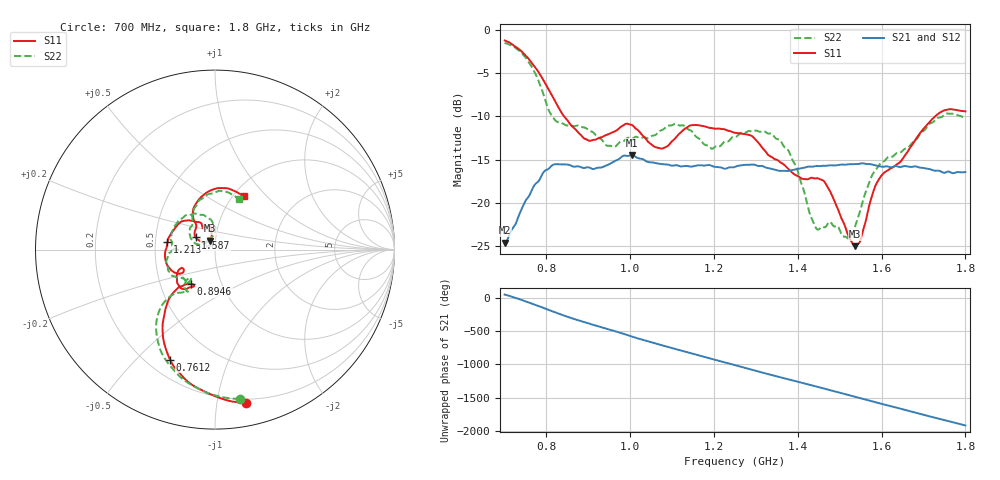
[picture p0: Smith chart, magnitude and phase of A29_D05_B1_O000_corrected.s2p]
! Created with skrf 1.9.0 (http://scikit-rf.org).
# Hz S RI R 50.0
!freq ReS11 ImS11 ReS21 ImS21 ReS12 ImS12 ReS22 ImS22
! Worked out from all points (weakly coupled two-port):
!   1601 points, 700 MHz to 1.8 GHz, reference 50 ohm
!   highest |S21| = -14.47 dB at 1.004 GHz (marker M1); lowest = -24.6 dB at 700.7 MHz (marker M2)
!   lowest |S11| = -25.0 dB at 1.536 GHz (marker M3), VSWR 1.12, Z = 47.1 + j4.63 ohm
!   |S11| at or under -10 dB: 842 MHz to 1.728 GHz (885.7 MHz wide, 68.9 % of centre)
!   |S22| runs from -24.2 to -1.5 dB; largest |S21 - S12| = 0.0035
!   S11 on the Smith chart (normalised r, x): 700 MHz: 0.17, -1.21; 761.2 MHz: 0.29, -0.63; 894.6 MHz: 0.72, -0.29; 1.213 GHz: 0.58, +0.05; 1.587 GHz: 0.80, +0.11; 1.8 GHz: 1.11, +0.75
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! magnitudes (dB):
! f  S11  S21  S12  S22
! 700 MHz  -1.2  -24.6  -24.4  -1.5
! 700.7 MHz  -1.2  -24.6  -24.3  -1.5
! 761.2 MHz  -3.6  -18.9  -18.9  -4.0
! 818.2 MHz  -8.0  -15.6  -15.7  -10.3
! 883.6 MHz  -12.2  -15.9  -15.8  -11.2
! 894.6 MHz  -12.6  -15.9  -16.0  -11.4
! 946.8 MHz  -12.1  -15.6  -15.6  -13.4
! 1.004 GHz  -11.0  -14.5  -14.6  -12.6
! 1.067 GHz  -13.6  -15.5  -15.4  -11.8
! 1.144 GHz  -11.0  -15.8  -15.8  -11.6
! 1.213 GHz  -11.4  -15.9  -15.9  -13.5
! 1.25 GHz  -11.9  -15.8  -15.8  -12.3
! 1.358 GHz  -15.3  -16.3  -16.3  -12.8
! 1.396 GHz  -16.8  -16.1  -16.1  -15.8
! 1.434 GHz  -17.1  -15.8  -15.8  -21.9
! 1.467 GHz  -17.9  -15.7  -15.7  -22.8
! 1.521 GHz  -23.9  -15.5  -15.6  -24.2
! 1.536 GHz  -25.0  -15.5  -15.5  -22.8
! 1.587 GHz  -17.9  -15.7  -15.7  -16.1
! 1.617 GHz  -16.2  -15.8  -15.8  -14.7
! 1.734 GHz  -9.7  -16.3  -16.3  -10.2
! 1.8 GHz  -9.4  -16.4  -16.4  -10.2
